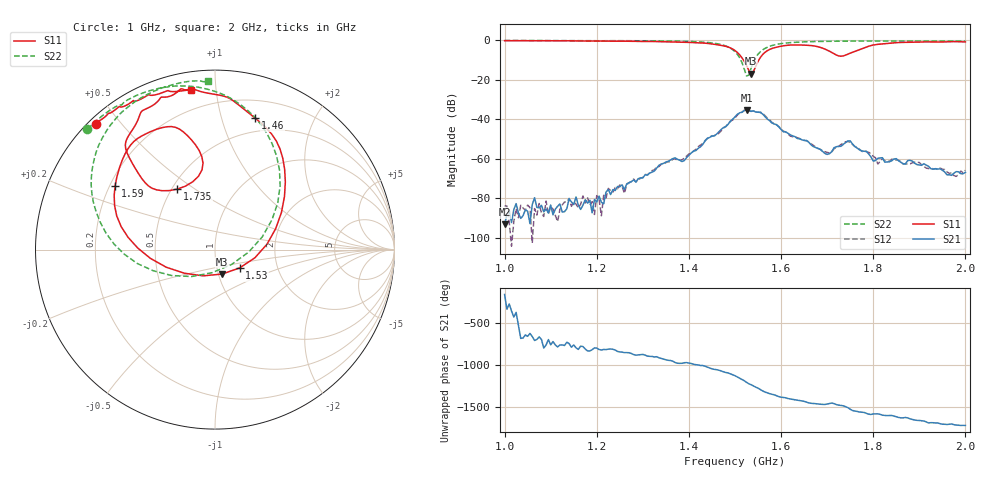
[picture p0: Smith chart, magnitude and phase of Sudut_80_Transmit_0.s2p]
# Hz S RI R 50
! CMT, C1220, 16058040, 17.2.0/1
! Date: 15/08/2018 09:01:14
! Data: Format (Calibration Info)
! Freq  S11: Re/Im (F2)  S21: Re/Im (F2)  S12: Re/Im (F2)  S22: Re/Im (F2)
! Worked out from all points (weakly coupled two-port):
!   201 points, 1 GHz to 2 GHz, reference 50 ohm
!   highest |S21| = -35.29 dB at 1.525 GHz (marker M1); lowest = -93.2 dB at 1 GHz (marker M2)
!   lowest |S11| = -17.0 dB at 1.535 GHz (marker M3), VSWR 1.33, Z = 52.1 - j14.5 ohm
!   |S11| at or under -10 dB: 1.518 GHz to 1.552 GHz (33.98 MHz wide, 2.21 % of centre)
!   |S22| runs from -18.2 to -0.2 dB; largest |S21 - S12| = 0.00076
!   S11 on the Smith chart (normalised r, x): 1 GHz: 0.02, +0.43; 1.46 GHz: 0.36, +1.28; 1.53 GHz: 1.28, -0.27; 1.59 GHz: 0.22, +0.28; 1.735 GHz: 0.53, +0.43; 2 GHz: 0.09, +0.86
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1e9  -0.6649 0.6977  -2.07e-05 -7.07e-06  4.87e-05 4.08e-05  -0.711 0.6716
1.17e9  -0.4893 0.8066  3.15e-05 -5.83e-05  -1.94e-05 -0.000112  -0.5592 0.7934
1.22e9  -0.438 0.8284  -1.9e-05 -0.000141  7.73e-06 -9.97e-05  -0.5099 0.8178
1.225e9  -0.4266 0.8324  -7.69e-06 -0.000166  -2.43e-05 -0.000176  -0.5033 0.8234
1.25e9  -0.3735 0.8613  -0.000113 -0.000158  -0.000122 -0.000179  -0.4724 0.8422
1.26e9  -0.3675 0.8624  -0.000115 -0.000118  -8.67e-05 -9.98e-05  -0.4561 0.8501
1.28e9  -0.3404 0.8607  -0.000267 -0.000112  -0.000292 -9.23e-05  -0.4282 0.8629
1.335e9  -0.239 0.8802  -0.000653 0.000187  -0.000595 0.000212  -0.3268 0.8953
1.39e9  -0.0811 0.8809  -0.00024 0.000862  -0.000194 0.00102  -0.1854 0.9117
1.46e9  0.2218 0.7341  0.00384 0.00161  0.00381 0.00116  0.152 0.7998
1.5e9  0.3919 0.3775  0.00744 -0.00864  0.00699 -0.00813  0.3628 0.3568
1.525e9  0.2223 -0.0457  -0.0106 -0.0136  -0.0106 -0.0138  0.0913 -0.0835
1.53e9  0.1367 -0.1023  -0.0134 -0.0093  -0.0135 -0.00943  -0.0162 -0.1287
1.535e9  0.0398 -0.1362  -0.0144 -0.00625  -0.0145 -0.0063  -0.1301 -0.15
1.56e9  -0.4305 0.00882  -0.00852 0.0104  -0.00927 0.0106  -0.5642 0.0329
1.59e9  -0.5565 0.3566  0.00217 0.00691  0.00233 0.00686  -0.6899 0.3591
1.67e9  -0.2187 0.6809  0.0019 -0.00069  0.00204 -0.000786  -0.5519 0.7307
1.705e9  -0.0733 0.518  0.00124 -0.000491  0.00123 -0.000645  -0.4848 0.7944
1.735e9  -0.2112 0.3368  0.00153 -0.00171  0.00153 -0.002  -0.4306 0.8333
1.81e9  -0.4966 0.6022  -0.000829 -0.000592  -0.00069 -0.000242  -0.3101 0.8946
1.835e9  -0.4392 0.7019  -0.000807 -0.000216  -0.000804 -0.000288  -0.2744 0.9076
2e9  -0.1317 0.8891  9.91e-05 0.000439  0.000156 0.000486  -0.0395 0.9418
